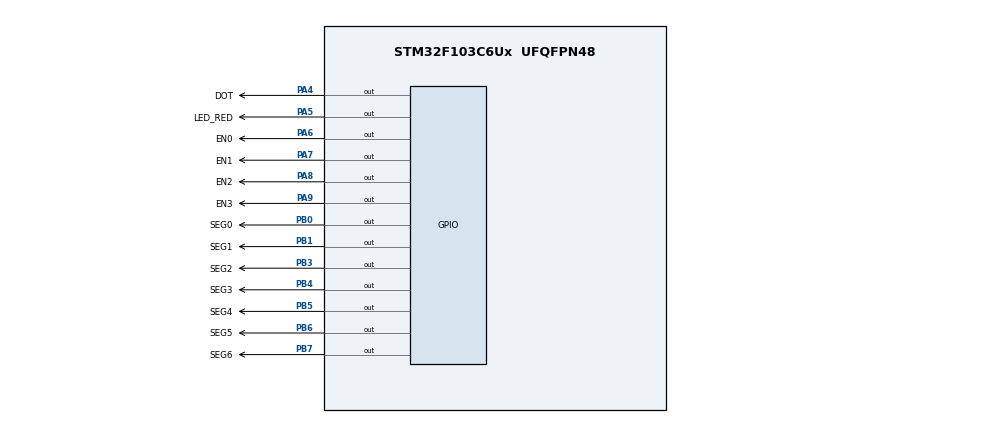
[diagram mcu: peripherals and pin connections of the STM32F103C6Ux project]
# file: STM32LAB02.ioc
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Mcu.Family=STM32F1
Mcu.Name=STM32F103C6Ux
Mcu.Package=UFQFPN48
NVIC.PriorityGroup=NVIC_PRIORITYGROUP_4
NVIC.TIM2_IRQn=true\:0\:0\:false\:false\:true\:true\:true
PA4.GPIO_Label=DOT
PA4.Signal=GPIO_Output
PA5.GPIO_Label=LED_RED
PA5.Signal=GPIO_Output
PA6.GPIO_Label=EN0
PA6.Signal=GPIO_Output
PA7.GPIO_Label=EN1
PA7.Signal=GPIO_Output
PA8.GPIO_Label=EN2
PA8.Signal=GPIO_Output
PA9.GPIO_Label=EN3
PA9.Signal=GPIO_Output
PB0.GPIO_Label=SEG0
PB0.Signal=GPIO_Output
PB1.GPIO_Label=SEG1
PB1.Signal=GPIO_Output
PB3.GPIO_Label=SEG2
PB3.Signal=GPIO_Output
PB4.GPIO_Label=SEG3
PB4.Signal=GPIO_Output
PB5.GPIO_Label=SEG4
PB5.Signal=GPIO_Output
PB6.GPIO_Label=SEG5
PB6.Signal=GPIO_Output
PB7.GPIO_Label=SEG6
PB7.Signal=GPIO_Output
ProjectManager.HeapSize=0x200
ProjectManager.StackSize=0x400
ProjectManager.TargetToolchain=STM32CubeIDE
RCC.APB1Freq_Value=8000000
RCC.APB2Freq_Value=8000000
TIM2.Period=9
TIM2.Prescaler=7999
VP_SYS_VS_ND.Mode=No_Debug
VP_TIM2_VS_ClockSourceINT.Mode=Internal
board=custom

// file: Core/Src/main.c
/* USER CODE BEGIN Header */
/**
  ******************************************************************************
  * @file           : main.c
  * @brief          : Main program body
  ******************************************************************************
  * @attention
  *
  * <h2><center>&copy; Copyright (c) 2024 STMicroelectronics.
  * All rights reserved.</center></h2>
  *
  * This software component is licensed by ST under BSD 3-Clause license,
  * the "License"; You may not use this file except in compliance with the
  * License. You may obtain a copy of the License at:
  *                        opensource.org/licenses/BSD-3-Clause
  *
  ******************************************************************************
  */
/* USER CODE END Header */
#include "main.h"

/* USER CODE BEGIN Includes */
#include "software_timer.h"
/* USER CODE END Includes */

TIM_HandleTypeDef htim2;

void SystemClock_Config(void);
static void MX_GPIO_Init(void);
static void MX_TIM2_Init(void);

/* USER CODE BEGIN 0 */
void display7SEG(int num)
{
  uint32_t code[10] = {64, 121, 36, 48, 25, 18, 2, 120, 0, 16};
  GPIOB->ODR = code[num];
}

const int MAX_LED = 4;
int index_led = 0;
int led_buffer[4] = {1, 2, 3, 4};
void update7SEG(int index) {
    switch (index) {
    case 0: {
    	display7SEG(led_buffer[0]);
    	HAL_GPIO_WritePin(GPIOA, EN0_Pin, 0);
    	HAL_GPIO_WritePin(GPIOA, EN1_Pin | EN2_Pin | EN3_Pin, 1);
        break;
    } case 1: {
    	display7SEG(led_buffer[1]);
    	HAL_GPIO_WritePin(GPIOA, EN1_Pin, 0);
    	HAL_GPIO_WritePin(GPIOA, EN0_Pin | EN2_Pin | EN3_Pin, 1);
        break;
    } case 2: {
    	display7SEG(led_buffer[2]);
    	HAL_GPIO_WritePin(GPIOA, EN2_Pin, 0);
    	HAL_GPIO_WritePin(GPIOA, EN0_Pin | EN1_Pin | EN3_Pin, 1);
        break;
    } case 3: {
    	display7SEG(led_buffer[3]);
    	HAL_GPIO_WritePin(GPIOA, EN3_Pin, 0);
    	HAL_GPIO_WritePin(GPIOA, EN0_Pin | EN1_Pin | EN2_Pin, 1);
        break;
    } default:
        break;
    }
}

void updateClockBuffer(int hour, int minute)
{
  led_buffer[0] = hour / 10;
  led_buffer[1] = hour % 10;
  led_buffer[2] = minute / 10;
  led_buffer[3] = minute % 10;
}
/* USER CODE END 0 */

int main(void)
{

  /* MCU Configuration--------------------------------------------------------*/

  /* Reset of all peripherals, Initializes the Flash interface and the Systick. */
  HAL_Init();

  /* Configure the system clock */
  SystemClock_Config();

  /* Initialize all configured peripherals */
  MX_GPIO_Init();
  MX_TIM2_Init();
  /* USER CODE BEGIN 2 */
  HAL_TIM_Base_Start_IT(&htim2);
  /* USER CODE END 2 */

  /* Infinite loop */
  while (1)
  {
	  update7SEG(index_led);
	    setTimer1(1000);
	    setTimer2(500);
	    int hour = 15, minute = 8, second = 50;
	    while (1) {
	          if (timer1_flag == 1) {
	            second++;
	            if (second >= 60) {
	              second = 0;
	              minute++;
	            }
	            if (minute >= 60) {
	              minute = 0;
	              hour++;
	            }
	            if (hour >= 24) {
	              hour = 0;
	            }
	            updateClockBuffer(hour, minute);
	            HAL_GPIO_TogglePin(GPIOA, DOT_Pin);
	            setTimer1(1000);
	          }

	          if (timer2_flag == 1) {
	            index_led = (index_led + 1) % MAX_LED;
	            update7SEG(index_led);
	            setTimer2(250);
	          }
	    }
  }
}

void SystemClock_Config(void)
{
  RCC_OscInitTypeDef RCC_OscInitStruct = {0};
  RCC_ClkInitTypeDef RCC_ClkInitStruct = {0};

  /** Initializes the RCC Oscillators according to the specified parameters
  * in the RCC_OscInitTypeDef structure.
  */
  RCC_OscInitStruct.OscillatorType = RCC_OSCILLATORTYPE_HSI;
  RCC_OscInitStruct.HSIState = RCC_HSI_ON;
  RCC_OscInitStruct.HSICalibrationValue = RCC_HSICALIBRATION_DEFAULT;
  RCC_OscInitStruct.PLL.PLLState = RCC_PLL_NONE;
  if (HAL_RCC_OscConfig(&RCC_OscInitStruct) != HAL_OK)
  {
    Error_Handler();
  }
  /** Initializes the CPU, AHB and APB buses clocks
  */
  RCC_ClkInitStruct.ClockType = RCC_CLOCKTYPE_HCLK|RCC_CLOCKTYPE_SYSCLK
                              |RCC_CLOCKTYPE_PCLK1|RCC_CLOCKTYPE_PCLK2;
  RCC_ClkInitStruct.SYSCLKSource = RCC_SYSCLKSOURCE_HSI;
  RCC_ClkInitStruct.AHBCLKDivider = RCC_SYSCLK_DIV1;
  RCC_ClkInitStruct.APB1CLKDivider = RCC_HCLK_DIV1;
  RCC_ClkInitStruct.APB2CLKDivider = RCC_HCLK_DIV1;

  if (HAL_RCC_ClockConfig(&RCC_ClkInitStruct, FLASH_LATENCY_0) != HAL_OK)
  {
    Error_Handler();
  }
}

static void MX_TIM2_Init(void)
{

  TIM_ClockConfigTypeDef sClockSourceConfig = {0};
  TIM_MasterConfigTypeDef sMasterConfig = {0};

  htim2.Instance = TIM2;
  htim2.Init.Prescaler = 7999;
  htim2.Init.CounterMode = TIM_COUNTERMODE_UP;
  htim2.Init.Period = 9;
  htim2.Init.ClockDivision = TIM_CLOCKDIVISION_DIV1;
  htim2.Init.AutoReloadPreload = TIM_AUTORELOAD_PRELOAD_DISABLE;
  if (HAL_TIM_Base_Init(&htim2) != HAL_OK)
  {
    Error_Handler();
  }
  sClockSourceConfig.ClockSource = TIM_CLOCKSOURCE_INTERNAL;
  if (HAL_TIM_ConfigClockSource(&htim2, &sClockSourceConfig) != HAL_OK)
  {
    Error_Handler();
  }
  sMasterConfig.MasterOutputTrigger = TIM_TRGO_RESET;
  sMasterConfig.MasterSlaveMode = TIM_MASTERSLAVEMODE_DISABLE;
  if (HAL_TIMEx_MasterConfigSynchronization(&htim2, &sMasterConfig) != HAL_OK)
  {
    Error_Handler();
  }

}

static void MX_GPIO_Init(void)
{
  GPIO_InitTypeDef GPIO_InitStruct = {0};

  /* GPIO Ports Clock Enable */
  __HAL_RCC_GPIOA_CLK_ENABLE();
  __HAL_RCC_GPIOB_CLK_ENABLE();

  /*Configure GPIO pin Output Level */
  HAL_GPIO_WritePin(GPIOA, DOT_Pin|LED_RED_Pin|EN0_Pin|EN1_Pin
                          |EN2_Pin|EN3_Pin, GPIO_PIN_RESET);

  /*Configure GPIO pin Output Level */
  HAL_GPIO_WritePin(GPIOB, SEG0_Pin|SEG1_Pin|SEG2_Pin|SEG3_Pin
                          |SEG4_Pin|SEG5_Pin|SEG6_Pin, GPIO_PIN_RESET);

  /*Configure GPIO pins : DOT_Pin LED_RED_Pin EN0_Pin EN1_Pin
                           EN2_Pin EN3_Pin */
  GPIO_InitStruct.Pin = DOT_Pin|LED_RED_Pin|EN0_Pin|EN1_Pin
                          |EN2_Pin|EN3_Pin;
  GPIO_InitStruct.Mode = GPIO_MODE_OUTPUT_PP;
  GPIO_InitStruct.Pull = GPIO_NOPULL;
  GPIO_InitStruct.Speed = GPIO_SPEED_FREQ_LOW;
  HAL_GPIO_Init(GPIOA, &GPIO_InitStruct);

  /*Configure GPIO pins : SEG0_Pin SEG1_Pin SEG2_Pin SEG3_Pin
                           SEG4_Pin SEG5_Pin SEG6_Pin */
  GPIO_InitStruct.Pin = SEG0_Pin|SEG1_Pin|SEG2_Pin|SEG3_Pin
                          |SEG4_Pin|SEG5_Pin|SEG6_Pin;
  GPIO_InitStruct.Mode = GPIO_MODE_OUTPUT_PP;
  GPIO_InitStruct.Pull = GPIO_NOPULL;
  GPIO_InitStruct.Speed = GPIO_SPEED_FREQ_LOW;
  HAL_GPIO_Init(GPIOB, &GPIO_InitStruct);

}

/* USER CODE BEGIN 4 */
void HAL_TIM_PeriodElapsedCallback(TIM_HandleTypeDef *htim) {
    timerRun();
}
/* USER CODE END 4 */

void Error_Handler(void)
{
  __disable_irq();
  while (1)
  {
  }
}

/************************ (C) COPYRIGHT STMicroelectronics *****END OF FILE****/
